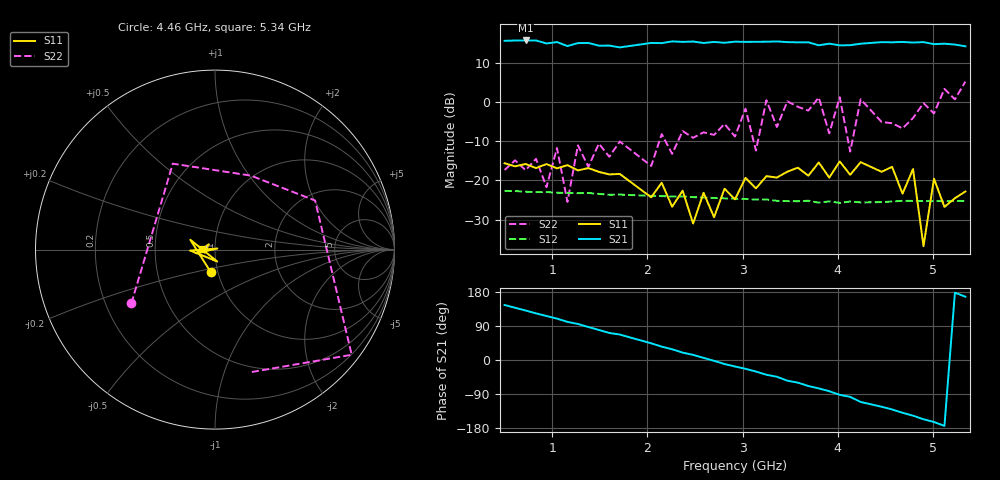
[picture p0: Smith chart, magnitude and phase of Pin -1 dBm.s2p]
! RsaToolbox (C) 2015 Rohde & Schwarz America
! Number of points: 42
! Number of ports: 2
! Balanced ports?: No
# Hz S RI R 50
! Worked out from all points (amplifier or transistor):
!   42 points, 500 MHz to 5.34 GHz, reference 50 ohm
!   highest |S21| = 15.6 dB at 720 MHz (marker M1)
!   |S21| within 3 dB of that: start of sweep to end of sweep
!   unconditionally stable (mu >= 1): start of sweep to 3.004 GHz; 3.046 GHz to 3.22 GHz; 4.357 GHz to 4.812 GHz (the widest 3 of 7)
!   at 1.27 GHz: K = 1.37, MAG = 15.5 dB, |S12| = -23.3 dB
!   at 3.03 GHz: K = 0.71, MSG = 20.0 dB, |S12| = -24.8 dB
!   at 5.34 GHz: K = -3.83, MSG = 19.7 dB, |S12| = -25.3 dB
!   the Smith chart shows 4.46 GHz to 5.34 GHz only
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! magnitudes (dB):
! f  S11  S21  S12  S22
! 500 MHz  -15.7  15.5  -22.7  -17.4
! 720 MHz  -15.9  15.6  -22.9  -17.4
! 940 MHz  -15.9  14.9  -23.0  -21.8
! 1.05 GHz  -17.0  15.2  -23.2  -11.8
! 1.16 GHz  -16.1  14.2  -23.2  -25.5
! 1.27 GHz  -17.5  15.0  -23.3  -11.1
! 1.38 GHz  -16.9  15.0  -23.2  -16.6
! 2.04 GHz  -24.3  15.0  -24.0  -16.4
! 2.15 GHz  -20.6  14.9  -24.0  -8.2
! 2.48 GHz  -31.0  15.4  -24.3  -9.2
! 2.92 GHz  -24.9  15.3  -24.7  -8.8
! 3.8 GHz  -15.5  14.4  -25.7  1.1
! 3.91 GHz  -19.3  14.8  -25.4  -8.0
! 4.02 GHz  -15.2  14.4  -25.8  1.2
! 4.13 GHz  -18.6  14.4  -25.4  -12.7
! 4.24 GHz  -15.4  14.8  -25.6  0.6
! 4.57 GHz  -16.6  15.2  -25.4  -5.5
! 4.68 GHz  -23.4  15.2  -25.2  -6.8
! 4.79 GHz  -17.1  15.1  -25.3  -4.1
! 4.9 GHz  -36.8  15.2  -25.3  -0.3
! 5.01 GHz  -19.6  14.7  -25.3  -3.0
! 5.34 GHz  -22.9  14.1  -25.3  5.2
